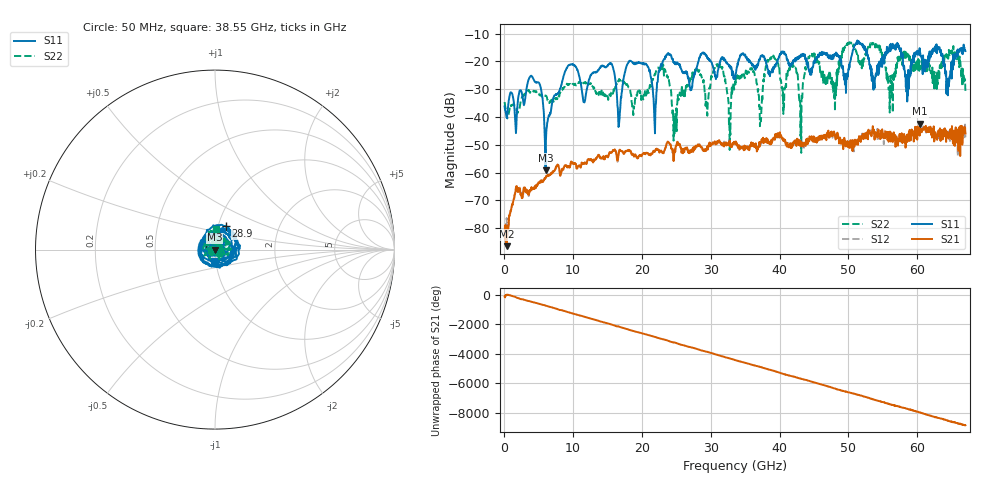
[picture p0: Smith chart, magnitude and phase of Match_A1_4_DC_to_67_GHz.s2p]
#  HZ  S  MA  R  50.00
! Rohde & Schwarz ZVA67 4Ports - Version 4.11 - 1305.7002k04 SN: 101051
! Date: 2023-05-31 11:13:02
! Measurements: S11 S21 S12 S22
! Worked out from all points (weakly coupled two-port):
!   1340 points, 50 MHz to 67 GHz, reference 50 ohm
!   highest |S21| = -42.40 dB at 60.4 GHz (marker M1); lowest = -86.5 dB at 350 MHz (marker M2)
!   lowest |S11| = -59.1 dB at 6 GHz (marker M3), VSWR 1.00, Z = 49.9 + j0.0143 ohm
!   |S11| at or under -10 dB: start of sweep to end of sweep
!   |S22| runs from -52.9 to -12.9 dB; largest |S21 - S12| = 0.0038
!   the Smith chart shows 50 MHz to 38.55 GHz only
!   S11 on the Smith chart (normalised r, x): 50 MHz: 0.97, +0.00; 28.9 GHz: 1.08, +0.29; 38.55 GHz: 0.98, -0.13
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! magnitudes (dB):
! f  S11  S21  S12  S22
! 50 MHz  -36.2  -82.7  -83.6  -34.6
! 350 MHz  -40.3  -86.5  -76.4  -39.2
! 4 GHz  -25.3  -66.2  -65.5  -31.3
! 6 GHz  -59.1  -61.8  -61.7  -32.4
! 9.3 GHz  -21.5  -58.1  -58.0  -28.1
! 11.25 GHz  -30.2  -56.4  -56.9  -27.6
! 15.45 GHz  -20.9  -52.8  -52.8  -32.5
! 16.7 GHz  -42.0  -52.1  -52.0  -26.3
! 18.8 GHz  -20.5  -54.0  -53.9  -36.2
! 22.4 GHz  -24.1  -52.0  -52.1  -22.4
! 24.75 GHz  -20.7  -52.1  -52.8  -45.9
! 28.9 GHz  -16.8  -52.2  -51.8  -27.5
! 33.55 GHz  -26.1  -49.3  -49.3  -27.3
! 37.25 GHz  -18.1  -49.0  -50.0  -40.7
! 38.55 GHz  -23.9  -49.0  -49.5  -18.9
! 43.05 GHz  -17.8  -49.8  -50.0  -46.9
! 44.7 GHz  -23.8  -48.5  -47.7  -17.3
! 47.95 GHz  -17.9  -45.6  -47.1  -33.2
! 53.65 GHz  -30.2  -45.7  -45.3  -13.5
! 55.85 GHz  -16.6  -48.9  -46.4  -30.2
! 60.4 GHz  -16.5  -42.4  -45.2  -22.2
! 67 GHz  -16.3  -45.9  -47.3  -30.7
